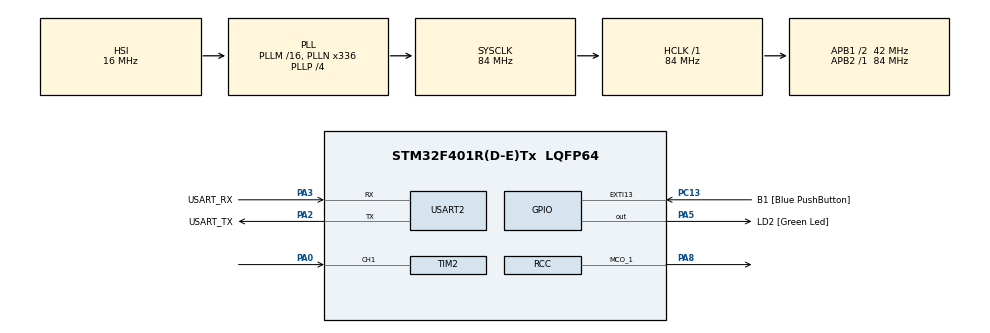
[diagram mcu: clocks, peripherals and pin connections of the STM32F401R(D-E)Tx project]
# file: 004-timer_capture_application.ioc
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Mcu.Family=STM32F4
Mcu.Name=STM32F401R(D-E)Tx
Mcu.Package=LQFP64
NVIC.PriorityGroup=NVIC_PRIORITYGROUP_0
NVIC.TIM2_IRQn=true\:0\:0\:false\:false\:true\:true\:true
NVIC.USART2_IRQn=true\:0\:0\:false\:false\:true\:true\:true
PA0-WKUP.Signal=S_TIM2_CH1_ETR
PA13.GPIO_Label=TMS
PA13.Mode=Serial_Wire
PA13.Signal=SYS_JTMS-SWDIO
PA14.GPIO_Label=TCK
PA14.Mode=Serial_Wire
PA14.Signal=SYS_JTCK-SWCLK
PA2.GPIO_Label=USART_TX
PA2.GPIO_Mode=GPIO_MODE_AF_PP
PA2.GPIO_PuPd=GPIO_NOPULL
PA2.GPIO_Speed=GPIO_SPEED_FREQ_LOW
PA2.Mode=Asynchronous
PA2.Signal=USART2_TX
PA3.GPIO_Label=USART_RX
PA3.GPIO_Mode=GPIO_MODE_AF_PP
PA3.GPIO_PuPd=GPIO_NOPULL
PA3.GPIO_Speed=GPIO_SPEED_FREQ_LOW
PA3.Mode=Asynchronous
PA3.Signal=USART2_RX
PA5.GPIO_Label=LD2 [Green Led]
PA5.GPIO_Mode=GPIO_MODE_OUTPUT_PP
PA5.GPIO_PuPd=GPIO_NOPULL
PA5.GPIO_Speed=GPIO_SPEED_FREQ_LOW
PA5.Signal=GPIO_Output
PA8.Mode=Clock-out-1
PA8.Signal=RCC_MCO_1
PB3.GPIO_Label=SWO
PB3.Signal=SYS_JTDO-SWO
PC13-ANTI_TAMP.GPIO_Label=B1 [Blue PushButton]
PC13-ANTI_TAMP.GPIO_ModeDefaultEXTI=GPIO_MODE_IT_FALLING
PC13-ANTI_TAMP.GPIO_PuPd=GPIO_NOPULL
PC13-ANTI_TAMP.Signal=GPXTI13
PC14-OSC32_IN.Mode=LSE-External-Oscillator
PC14-OSC32_IN.Signal=RCC_OSC32_IN
PC15-OSC32_OUT.Mode=LSE-External-Oscillator
PC15-OSC32_OUT.Signal=RCC_OSC32_OUT
PH0\ -\ OSC_IN.Mode=HSE-External-Clock-Source
PH0\ -\ OSC_IN.Signal=RCC_OSC_IN
PH1\ -\ OSC_OUT.Mode=HSE-External-Clock-Source
PH1\ -\ OSC_OUT.Signal=RCC_OSC_OUT
ProjectManager.HeapSize=0x200
ProjectManager.StackSize=0x400
ProjectManager.TargetToolchain=STM32CubeIDE
RCC.AHBFreq_Value=84000000
RCC.APB1CLKDivider=RCC_HCLK_DIV2
RCC.APB1Freq_Value=42000000
RCC.APB1TimFreq_Value=84000000
RCC.APB2Freq_Value=84000000
RCC.APB2TimFreq_Value=84000000
RCC.CortexFreq_Value=84000000
RCC.HCLKFreq_Value=84000000
RCC.HSE_VALUE=8000000
RCC.HSI_VALUE=16000000
RCC.PLLN=336
RCC.PLLP=RCC_PLLP_DIV4
RCC.PLLQ=7
RCC.RCC_MCO1Source=RCC_MCO1SOURCE_LSE
RCC.RCC_MCODiv1=RCC_MCODIV_3
RCC.SYSCLKFreq_VALUE=84000000
RCC.SYSCLKSource=RCC_SYSCLKSOURCE_PLLCLK
RCC.VCOOutputFreq_Value=336000000
SH.S_TIM2_CH1_ETR.0=TIM2_CH1,Input_Capture1_from_TI1
TIM2.Channel-Input_Capture1_from_TI1=TIM_CHANNEL_1
TIM2.Period=0xFFFFFFFF
USART2.VirtualMode=VM_ASYNC
board=NUCLEO-F401RE

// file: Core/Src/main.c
/* USER CODE BEGIN Header */
/**
  ******************************************************************************
  * @file           : main.c
  * @brief          : Main program body
  ******************************************************************************
  * @attention
  *
  * <h2><center>&copy; Copyright (c) 2020 STMicroelectronics.
  * All rights reserved.</center></h2>
  *
  * This software component is licensed by ST under BSD 3-Clause license,
  * the "License"; You may not use this file except in compliance with the
  * License. You may obtain a copy of the License at:
  *                        opensource.org/licenses/BSD-3-Clause
  *
  ******************************************************************************
  */

/*	Neste experimento, o fazemos a medição do master clock output usando o
 * 	timer capture input
 *
 */
/* USER CODE END Header */

#include "main.h"

/* USER CODE BEGIN Includes */
#include <stdio.h>
#include <string.h>

/* USER CODE END Includes */

TIM_HandleTypeDef htim2;

UART_HandleTypeDef huart2;

/* USER CODE BEGIN PV */
uint8_t capture_cplt = 0;
uint32_t capture_snapshot[2] = {0};

/* USER CODE END PV */

void SystemClock_Config(void);
static void MX_GPIO_Init(void);
static void MX_TIM2_Init(void);
static void MX_USART2_UART_Init(void);

int main(void)
{

  /* MCU Configuration--------------------------------------------------------*/

  /* Reset of all peripherals, Initializes the Flash interface and the Systick. */
  HAL_Init();

  /* Configure the system clock */
  SystemClock_Config();

  /* Initialize all configured peripherals */
  MX_GPIO_Init();
  MX_TIM2_Init();
  MX_USART2_UART_Init();
  /* USER CODE BEGIN 2 */

  // Inicializar o timer 2 capture em modo IRQ
  HAL_TIM_IC_Start_IT(&htim2, TIM_CHANNEL_1);

  double tim_clk, tim_res, capture_period, capture_freq;
  uint32_t capture_diff;
  char msg[32] = {0};

  /* USER CODE END 2 */

  /* Infinite loop */
  /* USER CODE BEGIN WHILE */
  while (1)
  {

	 if(capture_cplt){
		 capture_cplt = DISABLE;

		 // Calcula o negocio
		 if (capture_snapshot[1] >= capture_snapshot[0]){
			 //capture_period = (capture_snapshot[1] - capture_snapshot[0])/HAL_RCCEx_GetPeriphCLKFreq(RCC_PERIPHCLK_TIM);
			 capture_diff = capture_snapshot[1] - capture_snapshot[0];
		 }else{
			 // Discarta
			 capture_diff = capture_diff;
		 }

		 tim_clk = (HAL_RCC_GetPCLK1Freq() * 2)/(htim2.Init.Prescaler + 1);
		 tim_res = 1/tim_clk;

		 capture_period = tim_res * capture_diff;
		 capture_freq = 1 / capture_period;

		 memset(msg, 0, sizeof(msg));
		 sprintf(msg, "Freq. medida: %f\r\n", capture_freq);
		 HAL_UART_Transmit(&huart2, (uint8_t*)msg, strlen(msg), HAL_MAX_DELAY);

	 }

    /* USER CODE END WHILE */

  }
}

void SystemClock_Config(void)
{
  RCC_OscInitTypeDef RCC_OscInitStruct = {0};
  RCC_ClkInitTypeDef RCC_ClkInitStruct = {0};

  /** Configure the main internal regulator output voltage
  */
  __HAL_RCC_PWR_CLK_ENABLE();
  __HAL_PWR_VOLTAGESCALING_CONFIG(PWR_REGULATOR_VOLTAGE_SCALE2);
  /** Initializes the CPU, AHB and APB busses clocks
  */
  RCC_OscInitStruct.OscillatorType = RCC_OSCILLATORTYPE_HSI|RCC_OSCILLATORTYPE_LSE;
  RCC_OscInitStruct.LSEState = RCC_LSE_ON;
  RCC_OscInitStruct.HSIState = RCC_HSI_ON;
  RCC_OscInitStruct.HSICalibrationValue = RCC_HSICALIBRATION_DEFAULT;
  RCC_OscInitStruct.PLL.PLLState = RCC_PLL_ON;
  RCC_OscInitStruct.PLL.PLLSource = RCC_PLLSOURCE_HSI;
  RCC_OscInitStruct.PLL.PLLM = 16;
  RCC_OscInitStruct.PLL.PLLN = 336;
  RCC_OscInitStruct.PLL.PLLP = RCC_PLLP_DIV4;
  RCC_OscInitStruct.PLL.PLLQ = 7;
  if (HAL_RCC_OscConfig(&RCC_OscInitStruct) != HAL_OK)
  {
    Error_Handler();
  }
  /** Initializes the CPU, AHB and APB busses clocks
  */
  RCC_ClkInitStruct.ClockType = RCC_CLOCKTYPE_HCLK|RCC_CLOCKTYPE_SYSCLK
                              |RCC_CLOCKTYPE_PCLK1|RCC_CLOCKTYPE_PCLK2;
  RCC_ClkInitStruct.SYSCLKSource = RCC_SYSCLKSOURCE_PLLCLK;
  RCC_ClkInitStruct.AHBCLKDivider = RCC_SYSCLK_DIV1;
  RCC_ClkInitStruct.APB1CLKDivider = RCC_HCLK_DIV2;
  RCC_ClkInitStruct.APB2CLKDivider = RCC_HCLK_DIV1;

  if (HAL_RCC_ClockConfig(&RCC_ClkInitStruct, FLASH_LATENCY_2) != HAL_OK)
  {
    Error_Handler();
  }
  HAL_RCC_MCOConfig(RCC_MCO1, RCC_MCO1SOURCE_LSE, RCC_MCODIV_3);
}

static void MX_TIM2_Init(void)
{

  TIM_MasterConfigTypeDef sMasterConfig = {0};
  TIM_IC_InitTypeDef sConfigIC = {0};

  htim2.Instance = TIM2;
  htim2.Init.Prescaler = 0;
  htim2.Init.CounterMode = TIM_COUNTERMODE_UP;
  htim2.Init.Period = 0xFFFFFFFF;
  htim2.Init.ClockDivision = TIM_CLOCKDIVISION_DIV1;
  htim2.Init.AutoReloadPreload = TIM_AUTORELOAD_PRELOAD_DISABLE;
  if (HAL_TIM_IC_Init(&htim2) != HAL_OK)
  {
    Error_Handler();
  }
  sMasterConfig.MasterOutputTrigger = TIM_TRGO_RESET;
  sMasterConfig.MasterSlaveMode = TIM_MASTERSLAVEMODE_DISABLE;
  if (HAL_TIMEx_MasterConfigSynchronization(&htim2, &sMasterConfig) != HAL_OK)
  {
    Error_Handler();
  }
  sConfigIC.ICPolarity = TIM_INPUTCHANNELPOLARITY_RISING;
  sConfigIC.ICSelection = TIM_ICSELECTION_DIRECTTI;
  sConfigIC.ICPrescaler = TIM_ICPSC_DIV1;
  sConfigIC.ICFilter = 0;
  if (HAL_TIM_IC_ConfigChannel(&htim2, &sConfigIC, TIM_CHANNEL_1) != HAL_OK)
  {
    Error_Handler();
  }

}

static void MX_USART2_UART_Init(void)
{

  huart2.Instance = USART2;
  huart2.Init.BaudRate = 115200;
  huart2.Init.WordLength = UART_WORDLENGTH_8B;
  huart2.Init.StopBits = UART_STOPBITS_1;
  huart2.Init.Parity = UART_PARITY_NONE;
  huart2.Init.Mode = UART_MODE_TX_RX;
  huart2.Init.HwFlowCtl = UART_HWCONTROL_NONE;
  huart2.Init.OverSampling = UART_OVERSAMPLING_16;
  if (HAL_UART_Init(&huart2) != HAL_OK)
  {
    Error_Handler();
  }

}

static void MX_GPIO_Init(void)
{
  GPIO_InitTypeDef GPIO_InitStruct = {0};

  /* GPIO Ports Clock Enable */
  __HAL_RCC_GPIOC_CLK_ENABLE();
  __HAL_RCC_GPIOH_CLK_ENABLE();
  __HAL_RCC_GPIOA_CLK_ENABLE();
  __HAL_RCC_GPIOB_CLK_ENABLE();

  /*Configure GPIO pin Output Level */
  HAL_GPIO_WritePin(LD2_GPIO_Port, LD2_Pin, GPIO_PIN_RESET);

  /*Configure GPIO pin : B1_Pin */
  GPIO_InitStruct.Pin = B1_Pin;
  GPIO_InitStruct.Mode = GPIO_MODE_IT_FALLING;
  GPIO_InitStruct.Pull = GPIO_NOPULL;
  HAL_GPIO_Init(B1_GPIO_Port, &GPIO_InitStruct);

  /*Configure GPIO pin : LD2_Pin */
  GPIO_InitStruct.Pin = LD2_Pin;
  GPIO_InitStruct.Mode = GPIO_MODE_OUTPUT_PP;
  GPIO_InitStruct.Pull = GPIO_NOPULL;
  GPIO_InitStruct.Speed = GPIO_SPEED_FREQ_LOW;
  HAL_GPIO_Init(LD2_GPIO_Port, &GPIO_InitStruct);

  /*Configure GPIO pin : PA8 */
  GPIO_InitStruct.Pin = GPIO_PIN_8;
  GPIO_InitStruct.Mode = GPIO_MODE_AF_PP;
  GPIO_InitStruct.Pull = GPIO_NOPULL;
  GPIO_InitStruct.Speed = GPIO_SPEED_FREQ_LOW;
  GPIO_InitStruct.Alternate = GPIO_AF0_MCO;
  HAL_GPIO_Init(GPIOA, &GPIO_InitStruct);

}

/* USER CODE BEGIN 4 */

void HAL_TIM_IC_CaptureCallback(TIM_HandleTypeDef *htim){
	static uint8_t index = 0;
	if(!capture_cplt){
		switch (index){
		case 0:
			capture_snapshot[0] = __HAL_TIM_GET_COMPARE(htim, TIM_CHANNEL_1);
			index = 1;
			break;
		case 1:
			capture_snapshot[1] = __HAL_TIM_GET_COMPARE(htim, TIM_CHANNEL_1);
			index = 0;
			capture_cplt = ENABLE;
			break;
		default:
			break;
		}

	}

}

/* USER CODE END 4 */

void Error_Handler(void)
{
}

/************************ (C) COPYRIGHT STMicroelectronics *****END OF FILE****/
